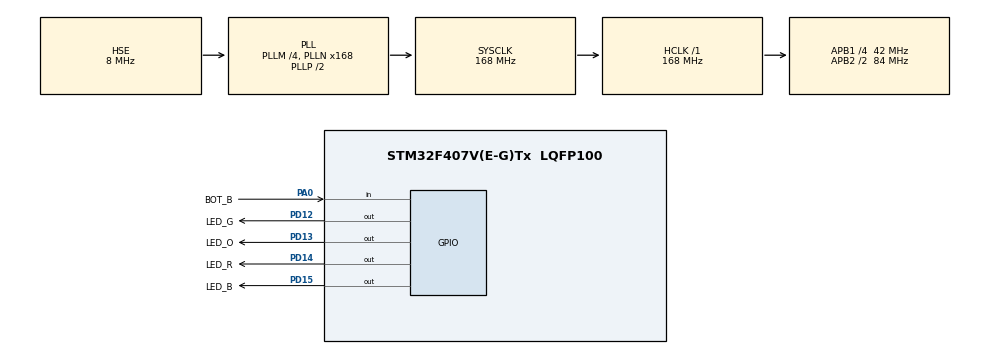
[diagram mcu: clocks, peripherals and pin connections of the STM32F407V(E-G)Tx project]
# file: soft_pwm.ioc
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Mcu.Family=STM32F4
Mcu.Name=STM32F407V(E-G)Tx
Mcu.Package=LQFP100
NVIC.PriorityGroup=NVIC_PRIORITYGROUP_4
PA0-WKUP.GPIO_Label=BOT_B
PA0-WKUP.Signal=GPIO_Input
PA13.Mode=Serial_Wire
PA13.Signal=SYS_JTMS-SWDIO
PA14.Mode=Serial_Wire
PA14.Signal=SYS_JTCK-SWCLK
PD12.GPIO_Label=LED_G
PD12.Signal=GPIO_Output
PD13.GPIO_Label=LED_O
PD13.Signal=GPIO_Output
PD14.GPIO_Label=LED_R
PD14.Signal=GPIO_Output
PD15.GPIO_Label=LED_B
PD15.Signal=GPIO_Output
PH0-OSC_IN.Mode=HSE-External-Oscillator
PH0-OSC_IN.Signal=RCC_OSC_IN
PH1-OSC_OUT.Mode=HSE-External-Oscillator
PH1-OSC_OUT.Signal=RCC_OSC_OUT
ProjectManager.HeapSize=0x200
ProjectManager.StackSize=0x400
ProjectManager.TargetToolchain=STM32CubeIDE
RCC.48MHZClocksFreq_Value=84000000
RCC.AHBFreq_Value=168000000
RCC.APB1CLKDivider=RCC_HCLK_DIV4
RCC.APB1Freq_Value=42000000
RCC.APB1TimFreq_Value=84000000
RCC.APB2CLKDivider=RCC_HCLK_DIV2
RCC.APB2Freq_Value=84000000
RCC.APB2TimFreq_Value=168000000
RCC.CortexFreq_Value=168000000
RCC.HCLKFreq_Value=168000000
RCC.HSE_VALUE=8000000
RCC.HSI_VALUE=16000000
RCC.LSE_VALUE=32768
RCC.PLLM=4
RCC.PLLN=168
RCC.PLLSourceVirtual=RCC_PLLSOURCE_HSE
RCC.SYSCLKFreq_VALUE=168000000
RCC.SYSCLKSource=RCC_SYSCLKSOURCE_PLLCLK
RCC.VCOOutputFreq_Value=336000000
board=custom

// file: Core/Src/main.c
/* USER CODE BEGIN Header */
/**
  ******************************************************************************
  * @file           : main.c
  * @brief          : Main program body
  ******************************************************************************
  * @attention
  *
  * Copyright (c) 2026 STMicroelectronics.
  * All rights reserved.
  *
  * This software is licensed under terms that can be found in the LICENSE file
  * in the root directory of this software component.
  * If no LICENSE file comes with this software, it is provided AS-IS.
  *
  ******************************************************************************
  */
  /* USER CODE END Header */
  /* Includes ------------------------------------------------------------------*/
#include "main.h"
#include "gpio.h"

/* USER CODE BEGIN PTD */

typedef enum
{
	off = 0,
	on = 1
}type_on_off;

typedef enum
{
	False = 0,
	True = 1
}type_bool;

typedef struct
{
	uint32_t initial_time;
	uint32_t elapsed_time;
	uint32_t delay_time;
}type_ST; // tipo soft timer

typedef enum
{
	Inactive = 0,
	Active = 1
}type_bool_state;

typedef struct
{
	type_bool_state state;
	uint32_t T;
	uint32_t t_act;
	uint32_t t_ina;
	float duty_cycle;
	GPIO_TypeDef* Port;
	uint16_t Pin;
	type_ST timer;
	uint32_t T_shadow;
	float duty_cicle_shadow;
	type_bool_state shadow;

}type_PWM; // tipo PWM

typedef enum
{
	Detecting = 0,
	Possible_transition = 1,
	Detected = 2
} type_transition_state;

typedef struct
{
	type_bool_state atu;
	type_bool_state ant;

	type_transition_state transition_state;

	type_ST timer_db;
	uint32_t debounce_time;

} type_button;

/* USER CODE END PTD */

/* USER CODE BEGIN PV */

type_ST ST_Timer1;
type_PWM PWM1;
type_on_off LED_B_state;

type_button BOT_B;

type_transition_state event;

type_bool_state leitura_botao;

/* USER CODE END PV */

void SystemClock_Config(void);
/* USER CODE BEGIN PFP */

void ST_Init(type_ST* pST, uint32_t time_lapse);
type_bool ST(type_ST* pST);
void ST_Lapse(type_ST* pST);

void PWM_Run(type_PWM* pPWM);
void PWM_Init(type_PWM* pPWM,
	GPIO_TypeDef* GPIO_Port,
	uint16_t GPIO_Pin,
	uint32_t Period,
	float Duty);
void PWM_Update(type_PWM* pPWM,
	uint32_t Period,
	float Duty,
	type_bool_state shadow);

type_transition_state Button_Debounce(type_button* btn, type_bool_state leitura);

void Button_Init(type_button* btn, uint32_t debounce_time);
/* USER CODE END PFP */

int main(void)
{

	/* MCU Configuration--------------------------------------------------------*/

	/* Reset of all peripherals, Initializes the Flash interface and the Systick. */
	HAL_Init();

	/* Configure the system clock */
	SystemClock_Config();

	/* Initialize all configured peripherals */
	MX_GPIO_Init();
	/* USER CODE BEGIN 2 */

	ST_Init(&ST_Timer1, 500);
	HAL_GPIO_TogglePin(LED_G_GPIO_Port, LED_G_Pin);

	PWM_Init(&PWM1, LED_O_GPIO_Port, LED_O_Pin, 1000, 0.5);

	LED_B_state = off;

	int i = 0;

	Button_Init(&BOT_B, 50);

	/* USER CODE END 2 */

	/* Infinite loop */
	while (1)
	{

		/* USER CODE BEGIN 3 */

		if (ST(&ST_Timer1)) {
			ST_Lapse(&ST_Timer1);
			HAL_GPIO_TogglePin(LED_G_GPIO_Port, LED_G_Pin);
			i++;

		}

		PWM_Run(&PWM1);

		if (i == 20)
		{
			i = 0;
			PWM_Update(&PWM1, 1000, 0.05, Active);
		}
		else if (i == 10)
		{
			PWM_Update(&PWM1, 1000, 0.5, Inactive);
		}

		leitura_botao = (type_bool_state)HAL_GPIO_ReadPin(BOT_B_GPIO_Port, BOT_B_Pin);
		if (leitura_botao)
		{
			if (LED_B_state == off) {
				HAL_GPIO_WritePin(LED_B_GPIO_Port, LED_B_Pin, GPIO_PIN_SET);
				LED_B_state = on;
			}
		}
		else
		{
			if (LED_B_state == on) {
				HAL_GPIO_WritePin(LED_B_GPIO_Port, LED_B_Pin, GPIO_PIN_RESET);
				LED_B_state = off;
			}

		}

		event = Button_Debounce(&BOT_B, leitura_botao);

		if (event == Detected)
		{
			HAL_GPIO_TogglePin(LED_R_GPIO_Port, LED_R_Pin);
		}

	} // fim da baleia
	/* USER CODE END 3 */

}

void SystemClock_Config(void)
{
	RCC_OscInitTypeDef RCC_OscInitStruct = { 0 };
	RCC_ClkInitTypeDef RCC_ClkInitStruct = { 0 };

	/** Configure the main internal regulator output voltage
	*/
	__HAL_RCC_PWR_CLK_ENABLE();
	__HAL_PWR_VOLTAGESCALING_CONFIG(PWR_REGULATOR_VOLTAGE_SCALE1);

	/** Initializes the RCC Oscillators according to the specified parameters
	* in the RCC_OscInitTypeDef structure.
	*/
	RCC_OscInitStruct.OscillatorType = RCC_OSCILLATORTYPE_HSE;
	RCC_OscInitStruct.HSEState = RCC_HSE_ON;
	RCC_OscInitStruct.PLL.PLLState = RCC_PLL_ON;
	RCC_OscInitStruct.PLL.PLLSource = RCC_PLLSOURCE_HSE;
	RCC_OscInitStruct.PLL.PLLM = 4;
	RCC_OscInitStruct.PLL.PLLN = 168;
	RCC_OscInitStruct.PLL.PLLP = RCC_PLLP_DIV2;
	RCC_OscInitStruct.PLL.PLLQ = 4;
	if (HAL_RCC_OscConfig(&RCC_OscInitStruct) != HAL_OK)
	{
		Error_Handler();
	}

	/** Initializes the CPU, AHB and APB buses clocks
	*/
	RCC_ClkInitStruct.ClockType = RCC_CLOCKTYPE_HCLK | RCC_CLOCKTYPE_SYSCLK
		| RCC_CLOCKTYPE_PCLK1 | RCC_CLOCKTYPE_PCLK2;
	RCC_ClkInitStruct.SYSCLKSource = RCC_SYSCLKSOURCE_PLLCLK;
	RCC_ClkInitStruct.AHBCLKDivider = RCC_SYSCLK_DIV1;
	RCC_ClkInitStruct.APB1CLKDivider = RCC_HCLK_DIV4;
	RCC_ClkInitStruct.APB2CLKDivider = RCC_HCLK_DIV2;

	if (HAL_RCC_ClockConfig(&RCC_ClkInitStruct, FLASH_LATENCY_5) != HAL_OK)
	{
		Error_Handler();
	}
}

/* USER CODE BEGIN 4 */

void ST_Init(type_ST* pST, uint32_t time_lapse)
{
	pST->initial_time = HAL_GetTick();
	pST->elapsed_time = 0;
	pST->delay_time = time_lapse;
}
type_bool ST(type_ST* pST)
{
	pST->elapsed_time = HAL_GetTick() - pST->initial_time;
	if (pST->elapsed_time >= pST->delay_time)
	{
		return True;
	}
	else return False;
}
void ST_Lapse(type_ST* pST)
{
	pST->initial_time = pST->initial_time + pST->delay_time;
	pST->elapsed_time = 0;
}

void PWM_Init(type_PWM* pPWM,
	GPIO_TypeDef* GPIO_Port,
	uint16_t GPIO_Pin,
	uint32_t Period,
	float Duty)
{
	pPWM->T = Period;
	if (Duty <= 0.0f)
		pPWM->duty_cycle = 0;
	else if (Duty >= 1.0f)
		pPWM->duty_cycle = 1.0;
	else
		pPWM->duty_cycle = Duty;
	pPWM->t_act = pPWM->T * pPWM->duty_cycle;
	pPWM->t_ina = pPWM->T - pPWM->t_act;

	pPWM->Port = GPIO_Port;
	pPWM->Pin = GPIO_Pin;

	pPWM->T_shadow = pPWM->T;
	pPWM->duty_cicle_shadow = pPWM->duty_cycle;
	pPWM->shadow = Inactive;

	pPWM->state = Active;
	ST_Init(&pPWM->timer, pPWM->t_act);
	HAL_GPIO_WritePin(pPWM->Port, pPWM->Pin, GPIO_PIN_SET);
}

void PWM_Run(type_PWM* pPWM)
{
	if (ST(&pPWM->timer))
	{
		ST_Lapse(&pPWM->timer);
		if (pPWM->state == Active)
		{
			pPWM->state = Inactive;
			HAL_GPIO_WritePin(pPWM->Port, pPWM->Pin, GPIO_PIN_RESET);
			pPWM->timer.delay_time = pPWM->t_ina;
		}
		else
		{
			pPWM->state = Active;
			if (pPWM->shadow)
			{
				pPWM->duty_cycle = pPWM->duty_cicle_shadow;
				pPWM->T = pPWM->T_shadow;
				pPWM->t_act = pPWM->T * pPWM->duty_cycle;
				pPWM->t_ina = pPWM->T - pPWM->t_act;
			}
			HAL_GPIO_WritePin(pPWM->Port, pPWM->Pin, GPIO_PIN_SET);
			pPWM->timer.delay_time = pPWM->t_act;

		}
	}
}

void PWM_Update(type_PWM* pPWM,
	uint32_t Period,
	float Duty,
	type_bool_state shadow)
{
#if (0)
	pPWM->T = Period;
	if (Duty <= 0.0f)
		pPWM->duty_cycle = 0;
	else if (Duty >= 1.0f)
		pPWM->duty_cycle = 1.0;
	else
		pPWM->duty_cycle = Duty;
	pPWM->t_act = pPWM->T * pPWM->duty_cycle;
	pPWM->t_ina = pPWM->T - pPWM->t_act;

	pPWM->T_shadow = pPWM->T;
	pPWM->duty_cicle_shadow = pPWM->duty_cycle;
#endif

	pPWM->shadow = shadow;
	pPWM->T_shadow = Period;
	if (Duty <= 0.0f)
		pPWM->duty_cicle_shadow = 0;
	else if (Duty >= 1.0f)
		pPWM->duty_cicle_shadow = 1.0;
	else
		pPWM->duty_cicle_shadow = Duty;
	if (!shadow)
	{
		pPWM->duty_cycle = pPWM->duty_cicle_shadow;
		pPWM->T = pPWM->T_shadow;
		pPWM->t_act = pPWM->T * pPWM->duty_cycle;
		pPWM->t_ina = pPWM->T - pPWM->t_act;
	}
}

void Button_Init(type_button* btn, uint32_t debounce_time)
{
	btn->atu = Active;
	btn->ant = Active;

	btn->transition_state = Detecting;

	btn->debounce_time = debounce_time;

	ST_Init(&btn->timer_db, debounce_time);
}

type_transition_state Button_Debounce(type_button* btn, type_bool_state leitura)
{
	btn->atu = leitura;

	switch (btn->transition_state)
	{
	case Detecting:
		if (btn->atu == Active && btn->ant == Inactive)
		{
			ST_Init(&btn->timer_db, btn->debounce_time);
			btn->transition_state = Possible_transition;
		}
		btn->ant = btn->atu;
		break;

	case Possible_transition:
		if (ST(&btn->timer_db))
		{
			if (btn->atu == Active)
			{
				btn->transition_state = Detected;
			}
			else
			{
				btn->transition_state = Detecting;
			}
		}
		break;

	case Detected:
		btn->transition_state = Detecting;
		break;

	default:
		btn->transition_state = Detecting;
		break;
	}

	return btn->transition_state;
}

/* USER CODE END 4 */

void Error_Handler(void)
{
	__disable_irq();
	while (1)
	{
	}
}
